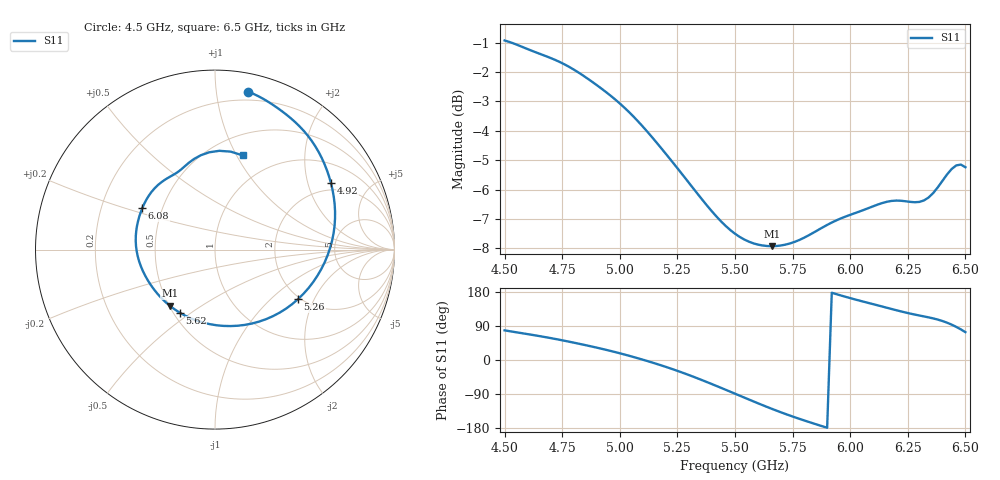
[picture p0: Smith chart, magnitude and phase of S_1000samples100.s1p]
! TOUCHSTONE file generated by CST MICROWAVE STUDIO
! Date and time: Thu Oct 27 00:05:09 2022
! Project name: L.cst
! Parameters = {Di=1.27; Epsilon_r=1.56; InnerDiameter=1.27; Length=2; Lf=10; Lg=60; OuterConductorThickness=0.2921; OuterDiameter=3.6; Wf=3; Wp=41.2; de=1.5; df=6.8; g=0.8; gx=3.2956; gy=2.38765; h=2.34; hf=1.524; px=13.0814; py=12.4869; w=9.7; wx=9.78578; wy=10.0992}
! Header version: 2018
! Port assignment regex: !\s*Touchstone port\s*([0-9]+)\s*=\s*(CST MWS port|CST DS port)\s*([0-9]+|Zmin|Zmax)\s*\(\"(.*)\"\)(\s*mode\s*([0-9]+))?.*
! Touchstone port assignment:
! Touchstone port 1 = CST MWS port 1 ("")
# GHz S DB R 50
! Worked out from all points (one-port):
!   101 points, 4.5 GHz to 6.5 GHz, reference 50 ohm
!   lowest |S11| = -7.9 dB at 5.66 GHz (marker M1), VSWR 2.34, Z = 25.2 - j18.8 ohm
!   |S11| at or under -10 dB: nowhere
!   S11 on the Smith chart (normalised r, x): 4.5 GHz: 0.13, +1.22; 4.92 GHz: 1.70, +2.82; 5.26 GHz: 1.95, -1.51; 5.62 GHz: 0.54, -0.45; 6.08 GHz: 0.39, +0.23; 6.5 GHz: 0.71, +1.06
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4.5  -0.93 78.1
4.64  -1.34 64.3
4.76  -1.74 50.8
4.84  -2.12 40.7
4.92  -2.56 29.8
5  -3.07 17.7
5.06  -3.52 7.8
5.12  -4.04 -2.8
5.18  -4.59 -14.2
5.26  -5.37 -30.8
5.32  -5.97 -44.3
5.38  -6.56 -58.7
5.44  -7.09 -73.6
5.5  -7.50 -88.9
5.56  -7.77 -104.2
5.62  -7.90 -119.2
5.66  -7.93 -128.9
5.76  -7.78 -151.2
5.88  -7.29 -175.0
6  -6.86 163.3
6.08  -6.63 150.4
6.18  -6.39 134.6
6.26  -6.42 122.5
6.34  -6.27 112.5
6.4  -5.71 103.0
6.42  -5.49 98.6
6.46  -5.18 87.5
6.5  -5.24 73.5
